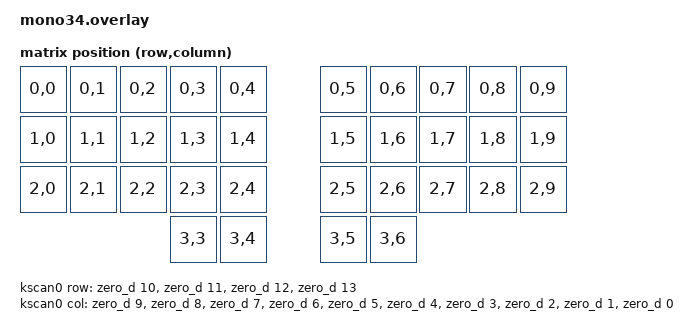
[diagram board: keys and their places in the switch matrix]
/*
 * mono34 - 34 key unibody, Sweep-style layout, Waveshare RP2040-Zero.
 *
 * SPDX-License-Identifier: MIT
 */

#include <dt-bindings/zmk/matrix_transform.h>

#include "mono34-layouts.dtsi"

// TPS43 (Azoteq IQS572) trackpad on I2C1 (GP14/GP15) + GP26/GP27. Comment this
// line out to build firmware for a bare mono34 with no trackpad attached.
#include "mono34-trackpad.dtsi"

&mono34_layout {
    transform = <&default_transform>;
};

/ {
    chosen {
        zmk,kscan = &kscan0;
        zmk,physical-layout = &mono34_layout;
        // NOTE: deliberately no `zmk,matrix-transform` here. The transform is
        // attached to the physical layout above instead, which is the current
        // ZMK convention for shields that declare a physical layout.
    };

    /*
     * 34 keys on a 4x10 matrix. The three alpha rows use all ten columns;
     * the four thumb keys hang off row 3 under columns 3..6.
     *
     *  SW1  SW2  SW3  SW4  SW5    SW6  SW7  SW8  SW9  SW10
     *  SW11 SW12 SW13 SW14 SW15   SW16 SW17 SW18 SW19 SW20
     *  SW21 SW22 SW23 SW24 SW25   SW26 SW27 SW28 SW29 SW30
     *                 SW31 SW32   SW33 SW34
     */
    default_transform: keymap_transform_0 {
        compatible = "zmk,matrix-transform";
        columns = <10>;
        rows = <4>;
        map = <
            RC(0,0) RC(0,1) RC(0,2) RC(0,3) RC(0,4)   RC(0,5) RC(0,6) RC(0,7) RC(0,8) RC(0,9)
            RC(1,0) RC(1,1) RC(1,2) RC(1,3) RC(1,4)   RC(1,5) RC(1,6) RC(1,7) RC(1,8) RC(1,9)
            RC(2,0) RC(2,1) RC(2,2) RC(2,3) RC(2,4)   RC(2,5) RC(2,6) RC(2,7) RC(2,8) RC(2,9)
                                    RC(3,3) RC(3,4)   RC(3,5) RC(3,6)
        >;
    };

    /*
     * col2row: the columns are driven (outputs) and the rows are read
     * (inputs with pull-downs). Diode cathodes face the row lines.
     *
     * If your PCB has the diodes the other way round, change this to
     * "row2col" and swap the GPIO flags between the two lists.
     *
     * Pins go through the board's &zero_d nexus, which maps 1:1 onto the
     * RP2040 GPIOs (&zero_d N == GPN on the silkscreen). Every pin used here
     * is on the castellated edge of the RP2040-Zero: GP0..GP15 and GP26..GP29
     * are edge pins, while GP17..GP25 are solder pads on the back and GP16 is
     * wired to the onboard WS2812 (left out of the board devicetree, but still
     * on that net physically -- avoid it for matrix lines).
     */
    kscan0: kscan {
        compatible = "zmk,kscan-gpio-matrix";
        wakeup-source;
        diode-direction = "col2row";

        col-gpios
            = <&zero_d 9 GPIO_ACTIVE_HIGH>
            , <&zero_d 8 GPIO_ACTIVE_HIGH>
            , <&zero_d 7 GPIO_ACTIVE_HIGH>
            , <&zero_d 6 GPIO_ACTIVE_HIGH>
            , <&zero_d 5 GPIO_ACTIVE_HIGH>
            , <&zero_d 4 GPIO_ACTIVE_HIGH>
            , <&zero_d 3 GPIO_ACTIVE_HIGH>
            , <&zero_d 2 GPIO_ACTIVE_HIGH>
            , <&zero_d 1 GPIO_ACTIVE_HIGH>
            , <&zero_d 0 GPIO_ACTIVE_HIGH>
            ;

        row-gpios
            = <&zero_d 10 (GPIO_ACTIVE_HIGH | GPIO_PULL_DOWN)>
            , <&zero_d 11 (GPIO_ACTIVE_HIGH | GPIO_PULL_DOWN)>
            , <&zero_d 12 (GPIO_ACTIVE_HIGH | GPIO_PULL_DOWN)>
            , <&zero_d 13 (GPIO_ACTIVE_HIGH | GPIO_PULL_DOWN)>
            ;
    };
};
